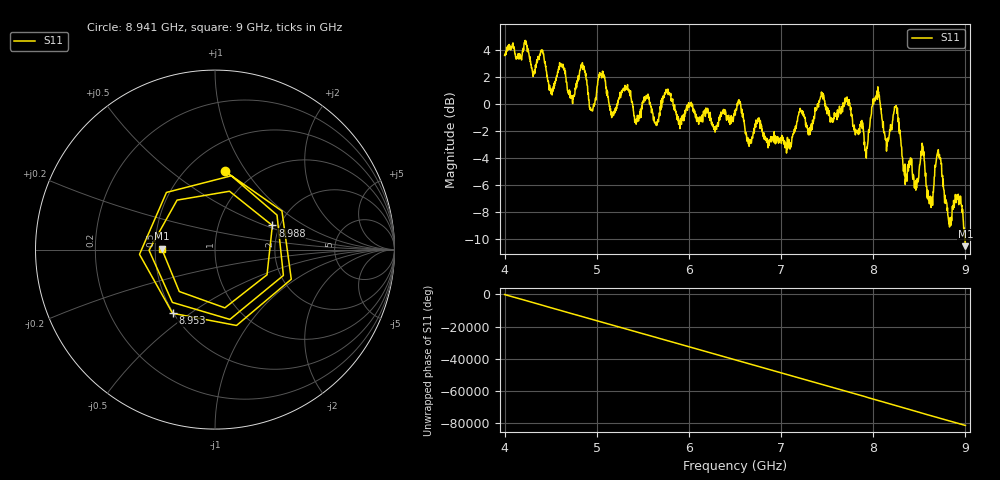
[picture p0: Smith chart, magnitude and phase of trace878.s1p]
! Created with skrf 1.8.0 (http://scikit-rf.org).
# Hz S RI R 50.0
!freq ReS11 ImS11
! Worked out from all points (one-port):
!   1601 points, 4 GHz to 9 GHz, reference 50 ohm
!   lowest |S11| = -10.5 dB at 9 GHz (marker M1), VSWR 1.85, Z = 27.1 + j0.294 ohm
!   |S11| at or under -10 dB: 8.995708 GHz to end of sweep
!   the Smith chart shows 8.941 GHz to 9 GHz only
!   S11 on the Smith chart (normalised r, x): 8.941 GHz: 0.75, +0.81; 8.953 GHz: 0.49, -0.43; 8.988 GHz: 1.83, +0.56; 9 GHz: 0.54, +0.01
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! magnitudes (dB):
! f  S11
! 4 GHz  3.6
! 4.403 GHz  4.0
! 4.509 GHz  0.9
! 4.625 GHz  2.9
! 4.738 GHz  0.0
! 4.856 GHz  2.8
! 4.944 GHz  -0.5
! 5.047 GHz  2.3
! 5.162 GHz  -1.0
! 5.25 GHz  0.6
! 5.875 GHz  -0.9
! 6.5 GHz  -0.7
! 7.125 GHz  -2.4
! 7.441 GHz  0.7
! 7.75 GHz  -0.2
! 7.922 GHz  -3.9
! 8.034 GHz  0.5
! 8.144 GHz  -3.5
! 8.241 GHz  -0.2
! 8.375 GHz  -4.5
! 8.538 GHz  -3.1
! 8.622 GHz  -7.1
! 8.709 GHz  -3.7
! 8.828 GHz  -9.1
! 8.941 GHz  -7.1
! 8.953 GHz  -7.4
! 8.988 GHz  -9.2
! 9 GHz  -10.5
